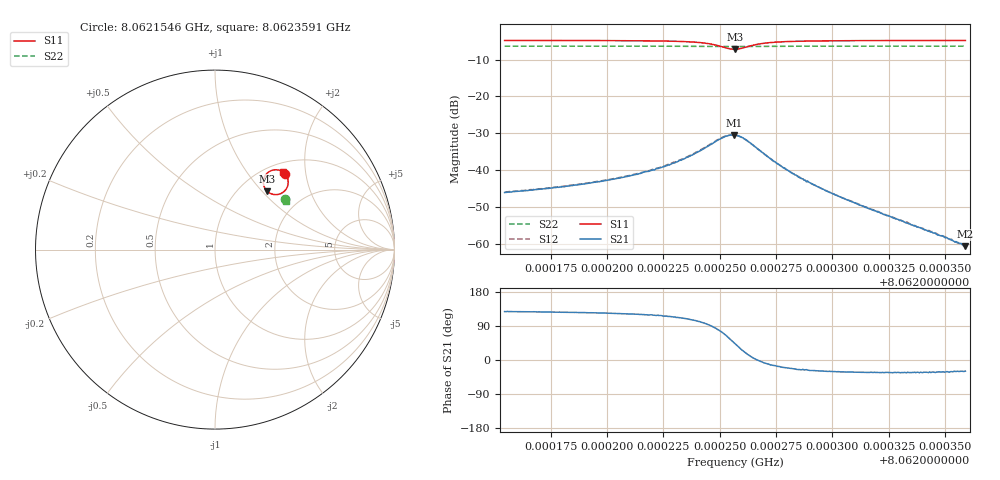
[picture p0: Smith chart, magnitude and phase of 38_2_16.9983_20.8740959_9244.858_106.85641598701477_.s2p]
#  HZ  S  RI  R  50.00
! Rohde & Schwarz Vector Network Analyzer
! Rohde-Schwarz,ZNB20-2Port,1311601062101988,3.16
! Created: UTC 3/20/2024, 10:53:47 PM
! freq[Hz]  re:S11  im:S11  re:S21  im:S21  re:S12  im:S12  re:S22  im:S22
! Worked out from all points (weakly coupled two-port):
!   401 points, 8.0621546 GHz to 8.0623591 GHz, reference 50 ohm
!   highest |S21| = -30.44 dB at 8.0622563 GHz (marker M1); lowest = -60.6 dB at 8.0623591 GHz (marker M2)
!   lowest |S11| = -7.2 dB at 8.0622569 GHz (marker M3), VSWR 2.55, Z = 66.4 + j53.4 ohm
!   |S11| at or under -10 dB: nowhere
!   |S22| runs from -6.5 to -6.3 dB; largest |S21 - S12| = 0.0026
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8.06215457e9  0.3888 0.4239  -0.00304 0.00392  -0.00286 0.00414  0.3908 0.2817
8.06217196e9  0.3915 0.4205  -0.00334 0.00447  -0.00309 0.00472  0.3913 0.2809
8.06218884e9  0.3948 0.4163  -0.00372 0.00526  -0.0034 0.00554  0.3921 0.2797
8.06220622e9  0.3992 0.4095  -0.00424 0.00666  -0.00386 0.007  0.3927 0.2787
8.06221441e9  0.4019 0.4043  -0.00452 0.00774  -0.00414 0.00811  0.393 0.278
8.0622231e9  0.4048 0.3962  -0.0049 0.00947  -0.00437 0.00982  0.3932 0.2773
8.06223384e9  0.4079 0.3783  -0.00483 0.0131  -0.00409 0.0137  0.3933 0.2762
8.06224509e9  0.3967 0.3375  -0.00112 0.0212  0.000362 0.0217  0.3927 0.2739
8.06225174e9  0.3509 0.3072  0.00945 0.0263  0.0118 0.0258  0.3905 0.2733
8.0622543e9  0.32 0.3087  0.0161 0.0249  0.0182 0.0237  0.3892 0.2737
8.06225634e9  0.2955 0.3211  0.0209 0.0216  0.0227 0.0198  0.3886 0.2745
8.06225685e9  0.2903 0.3258  0.0217 0.0203  0.0235 0.0187  0.3885 0.2748
8.06226094e9  0.2693 0.3729  0.0248 0.00981  0.0254 0.00782  0.3886 0.2768
8.06226504e9  0.2794 0.4112  0.0216 0.00187  0.0216 0.00038  0.3898 0.278
8.06226913e9  0.2976 0.4313  0.0171 -0.00176  0.017 -0.00301  0.3909 0.2784
8.06227373e9  0.3157 0.4409  0.0131 -0.00332  0.0127 -0.00412  0.3918 0.2782
8.0622814e9  0.3361 0.4449  0.00878 -0.00355  0.00855 -0.0041  0.3929 0.2776
8.06229112e9  0.351 0.4437  0.00573 -0.00301  0.00557 -0.00335  0.3938 0.2769
8.06230492e9  0.3624 0.4406  0.00356 -0.00216  0.00343 -0.00233  0.3946 0.2761
8.06232538e9  0.3714 0.4368  0.00199 -0.0013  0.00191 -0.0014  0.3956 0.2749
8.06234533e9  0.3766 0.4338  0.00119 -0.000748  0.00114 -0.000817  0.3964 0.2737
8.06235913e9  0.3791 0.432  0.000809 -0.000457  0.000789 -0.000493  0.3969 0.2728
